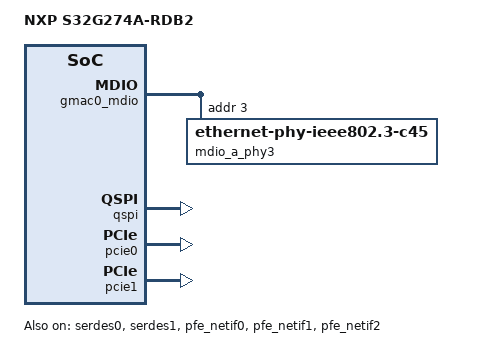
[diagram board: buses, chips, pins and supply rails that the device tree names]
// SPDX-License-Identifier: (GPL-2.0+ OR BSD-3-Clause)
/*
 * Copyright 2019-2020, 2022-2024 NXP
 */

/dts-v1/;
#include "s32g2.dtsi"
#include "s32gxxxa-rdb.dtsi"

/ {
	model = "NXP S32G274A-RDB2";
};

&gmac0_mdio {
	#address-cells = <1>;
	#size-cells = <0>;
	/* AQR107 */
	mdio_a_phy3: ethernet-phy@3 {
		compatible = "ethernet-phy-ieee802.3-c45";
		/*
		 * Warning: from board revD onwards the PHY
		 * address changed to 0x8 (fixup needed)
		 */
		reg = <3>;
	};
};

&qspi {
	status = "okay";
};

&pcie0 {
	status = "okay";
};

&pcie1 {
	status = "okay";
};

&serdes0 {
	status = "okay";
};

&serdes1 {
	status = "okay";
};

&pfe_netif0 {
	status = "okay";
};

&pfe_netif1 {
	status = "okay";
	phy-mode = "sgmii";
	phy-handle = <&mdio_a_phy3>;
	/* workaround for ALB-10515 (remove when fixed) */
	fixed-link {
		speed = <1000>;
		full-duplex;
	};
};

&pfe_netif2 {
	status = "okay";
};

&usdhc0 {
	no-1-8-v;
};
